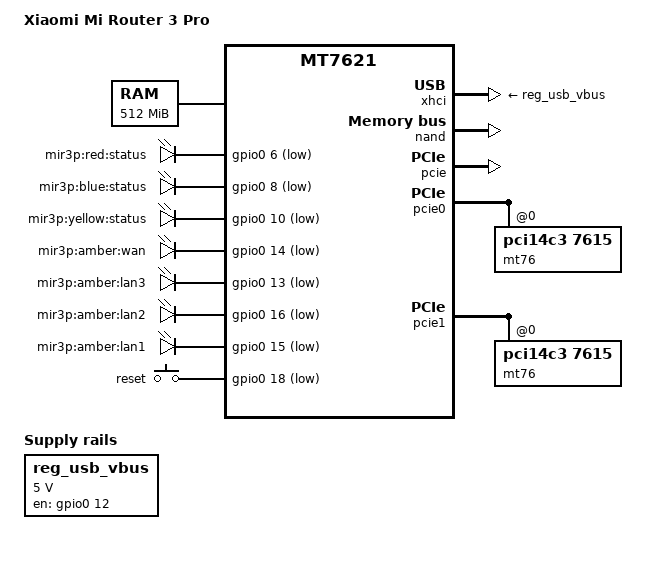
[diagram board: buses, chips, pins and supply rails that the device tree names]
/dts-v1/;

#include "mt7621.dtsi"

#include <dt-bindings/gpio/gpio.h>
#include <dt-bindings/input/input.h>

/ {
	compatible = "xiaomi,mir3p", "mediatek,mt7621-soc";
	model = "Xiaomi Mi Router 3 Pro";

	aliases {
		led-boot = &led_status_blue;
		led-failsafe = &led_status_blue;
		led-running = &led_status_blue;
		led-upgrade = &led_status_blue;
	};
	memory@0 {
		device_type = "memory";
		reg = <0x0 0x1c000000>, <0x20000000 0x04000000>;
	};

	chosen {
		bootargs = "console=ttyS0,115200n8";
	};
	gpio-leds {
		compatible = "gpio-leds";

		status_red {
			label = "mir3p:red:status";
			gpios = <&gpio0 6 GPIO_ACTIVE_LOW>;
		};

		led_status_blue: status_blue {
			label = "mir3p:blue:status";
			gpios = <&gpio0 8 GPIO_ACTIVE_LOW>;
		};

		status_yellow {
			label = "mir3p:yellow:status";
			gpios = <&gpio0 10 GPIO_ACTIVE_LOW>;
		};

		wan_amber {
			label = "mir3p:amber:wan";
			gpios = <&gpio0 14 GPIO_ACTIVE_LOW>;
		};

		/*
		 * Yes, the GPIO numbering scheme is really this
		 * illogical:
		 * 	lan3: gpio 13
		 *	lan2: gpio 16
		 *	lan1: gpio 15
		 */
		lan1_amber {
			label = "mir3p:amber:lan3";
			gpios = <&gpio0 13 GPIO_ACTIVE_LOW>;
		};

		lan2_amber {
			label = "mir3p:amber:lan2";
			gpios = <&gpio0 16 GPIO_ACTIVE_LOW>;
		};

		lan3_amber {
			label = "mir3p:amber:lan1";
			gpios = <&gpio0 15 GPIO_ACTIVE_LOW>;
		};
	};

	gpio-keys-polled {
		compatible = "gpio-keys-polled";
		poll-interval = <20>;

		reset {
			label = "reset";
			gpios = <&gpio0 18 GPIO_ACTIVE_LOW>;
			linux,code = <KEY_RESTART>;
		};
	};

	reg_usb_vbus: reg_usb_vbus {
		compatible = "regulator-fixed";
		regulator-name = "usb_vbus";
		regulator-min-microvolt = <5000000>;
		regulator-max-microvolt = <5000000>;
		gpio = <&gpio0 12 GPIO_ACTIVE_HIGH>;
		enable-active-high;
	};
};

&xhci {
	vbus-supply = <&reg_usb_vbus>;
};

&nand {
	status = "okay";

	partitions {
		compatible = "fixed-partitions";
		#address-cells = <1>;
		#size-cells = <1>;

		partition@0 {
			label = "Bootloader";
			reg = <0x0 0x40000>;
			read-only;
		};

		partition@40000 {
			label = "Config";
			reg = <0x40000 0x40000>;
		};

		partition@80000 {
			label = "Bdata";
			reg = <0x80000 0x40000>;
			read-only;
		};

		factory: partition@c0000 {
			label = "Factory";
			reg = <0x0c0000 0x40000>;
			read-only;
		};

		partition@100000 {
			label = "crash";
			reg = <0x100000 0x40000>;
		};

		partition@140000 {
			label = "crash_syslog";
			reg = <0x140000 0x80000>;
		};

		partition@1c0000 {
			label = "reserved0";
			reg = <0x1c0000 0x40000>;
			read-only;
		};

		/* uboot expects to find kernels at 0x200000 & 0x600000
		 * referred to as system 1 & system 2 respectively.
		 * a kernel is considered suitable for handing control over
		 * if its linux magic number exists & uImage CRC are correct.
		 * If either of those conditions fail, a matching sys'n'_fail flag
		 * is set in uboot env & a restart performed in the hope that the
		 * alternate kernel is okay.
		 * if neither kernel checksums ok and both are marked failed, system 2
		 * is booted anyway.
		 *
		 * Note uboot's tftp flash install writes the transferred
		 * image to both kernel partitions.
		 */

		partition@200000 {
			label = "kernel_stock";
			reg = <0x200000 0x400000>;
		};

		/*
		 * The remaining space is free for us to play with.
		 * "kernel" and "ubi" partitions are combined as "firmware"
		 * and split at boot-time
		 */
		partition@600000 {
			label = "firmware";
			compatible = "denx,uimage";
			reg = <0x600000 0xf980000>;
		};
	};
};

&pcie {
	status = "okay";
};

/* mt76 doesn't support 7615 yet... */
&pcie0 {
	mt76@0,0 {
		device_type = "pci";
		compatible = "pci14c3,7615";
		reg = <0x0000 0 0 0 0>;
		mediatek,mtd-eeprom = <&factory 0x0000>;
		ieee80211-freq-limit = <2400000 2500000>;
	};
};

&pcie1 {
	mt76@0,1 {
		device_type = "pci";
		compatible = "pci14c3,7615";
		reg = <0x0000 0 0 0 0>;
		mediatek,mtd-eeprom = <&factory 0x8000>;
		ieee80211-freq-limit = <5000000 6000000>;
	};
};

&ethernet {
	mtd-mac-address = <&factory 0xe000>;
	mediatek,portmap = "llllw";
};

&pinctrl {
	state_default: pinctrl0 {
		gpio {
			ralink,group = "jtag", "uart2", "uart3", "wdt";
			ralink,function = "gpio";
		};
	};
};
